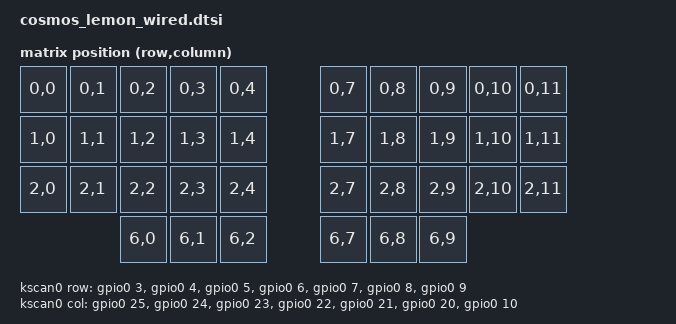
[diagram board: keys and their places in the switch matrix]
/*
 * Copyright (c) 2026 The ZMK Contributors
 * SPDX-License-Identifier: MIT
 *
 * Cosmos Lemon Wired — 36-key Miryoku reference shield (COLEMAK-DH).
 *
 * Physical layout: Pumpkin Patch (R1–R3, C1–C5) for 3×5 alpha cluster,
 * Pumpkin Vine (R7, C1–C3) for the 3-key thumb cluster per side.
 *
 * The Cosmos generator produces a custom version of this file for your
 * specific keyboard layout. Use the generator output, not this file, for
 * production builds.
 *
 * Pin mapping (Lemon Wired v0.6+):
 *   Rows R1–R7: GP3–GP9   (GPIO_ACTIVE_HIGH | GPIO_PULL_DOWN, COL2ROW)
 *   Cols C1–C7: GP25, GP24, GP23, GP22, GP21, GP20, GP10  (GPIO_ACTIVE_HIGH)
 *
 * Matrix transform: 7 rows × 14 cols (cols 0–6 = left, 7–13 = right).
 * Only 36 positions are mapped; right overlay adds col-offset = <7>.
 */

#include <behaviors.dtsi>
#include <dt-bindings/zmk/matrix_transform.h>
#include <dt-bindings/zmk/keys.h>

/ {
    chosen {
        zmk,kscan = &kscan0;
        zmk,matrix-transform = &default_transform;
    };

    default_transform: keymap_transform_0 {
        compatible = "zmk,matrix-transform";
        columns = <14>;
        rows = <7>;
        // Positions 0–35 (left→right, top→bottom, then thumbs):
        //   0-4   : left top alpha    (L00–L04)
        //   5-9   : right top alpha   (R00–R04)
        //   10-14 : left home alpha   (L10–L14)
        //   15-19 : right home alpha  (R10–R14)
        //   20-24 : left bottom alpha (L20–L24)
        //   25-29 : right bottom alpha(R20–R24)
        //   30-32 : left thumbs       (LT0 outer → LT2 inner)
        //   33-35 : right thumbs      (RT0 inner → RT2 outer)
        map = <
            RC(0,0)  RC(0,1)  RC(0,2)  RC(0,3)  RC(0,4)     RC(0,7)  RC(0,8)  RC(0,9)  RC(0,10) RC(0,11)
            RC(1,0)  RC(1,1)  RC(1,2)  RC(1,3)  RC(1,4)     RC(1,7)  RC(1,8)  RC(1,9)  RC(1,10) RC(1,11)
            RC(2,0)  RC(2,1)  RC(2,2)  RC(2,3)  RC(2,4)     RC(2,7)  RC(2,8)  RC(2,9)  RC(2,10) RC(2,11)
            RC(6,0)  RC(6,1)  RC(6,2)                                 RC(6,7)  RC(6,8)  RC(6,9)
        >;
    };

    kscan0: kscan_0 {
        compatible = "zmk,kscan-gpio-matrix";
        diode-direction = "col2row";

        row-gpios
            = <&gpio0  3 (GPIO_ACTIVE_HIGH | GPIO_PULL_DOWN)>   /* R1 */
            , <&gpio0  4 (GPIO_ACTIVE_HIGH | GPIO_PULL_DOWN)>   /* R2 */
            , <&gpio0  5 (GPIO_ACTIVE_HIGH | GPIO_PULL_DOWN)>   /* R3 */
            , <&gpio0  6 (GPIO_ACTIVE_HIGH | GPIO_PULL_DOWN)>   /* R4 */
            , <&gpio0  7 (GPIO_ACTIVE_HIGH | GPIO_PULL_DOWN)>   /* R5 */
            , <&gpio0  8 (GPIO_ACTIVE_HIGH | GPIO_PULL_DOWN)>   /* R6 */
            , <&gpio0  9 (GPIO_ACTIVE_HIGH | GPIO_PULL_DOWN)>   /* R7 (Pumpkin Vine thumbs) */
            ;

        col-gpios
            = <&gpio0 25 GPIO_ACTIVE_HIGH>   /* C1 */
            , <&gpio0 24 GPIO_ACTIVE_HIGH>   /* C2 */
            , <&gpio0 23 GPIO_ACTIVE_HIGH>   /* C3 */
            , <&gpio0 22 GPIO_ACTIVE_HIGH>   /* C4 */
            , <&gpio0 21 GPIO_ACTIVE_HIGH>   /* C5 */
            , <&gpio0 20 GPIO_ACTIVE_HIGH>   /* C6 */
            , <&gpio0 10 GPIO_ACTIVE_HIGH>   /* C7 */
            ;
    };
};
